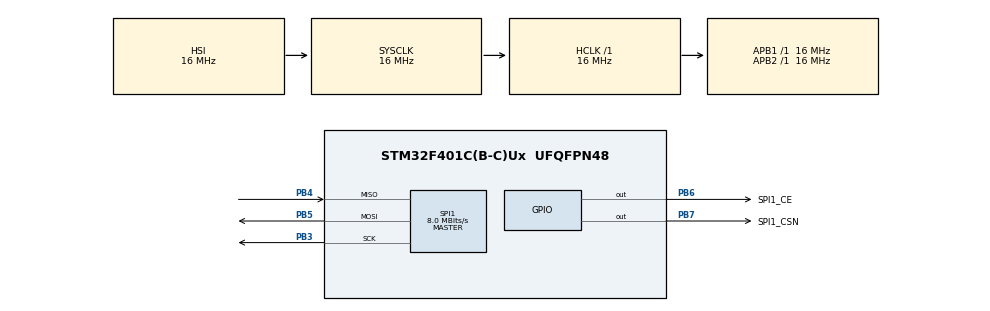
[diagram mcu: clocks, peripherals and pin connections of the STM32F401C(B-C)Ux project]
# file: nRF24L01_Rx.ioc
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Mcu.Family=STM32F4
RCC.CortexFreq_Value=16000000
SPI1.VirtualType=VM_MASTER
PH1\ -\ OSC_OUT.Mode=HSE-External-Oscillator
PB6.GPIO_Label=SPI1_CE
ProjectManager.StackSize=0x400
PA13.Signal=SYS_JTMS-SWDIO
PH0\ -\ OSC_IN.Mode=HSE-External-Oscillator
PH0\ -\ OSC_IN.Signal=RCC_OSC_IN
ProjectManager.TargetToolchain=STM32CubeIDE
SPI1.Direction=SPI_DIRECTION_2LINES
PB6.Signal=GPIO_Output
SPI1.CalculateBaudRate=8.0 MBits/s
RCC.LSE_VALUE=32768
RCC.AHBFreq_Value=16000000
RCC.HSE_VALUE=25000000
PH1\ -\ OSC_OUT.Signal=RCC_OSC_OUT
PB3.Mode=Full_Duplex_Master
board=custom
RCC.VCOOutputFreq_Value=192000000
RCC.APB2Freq_Value=16000000
PB4.Mode=Full_Duplex_Master
SPI1.Mode=SPI_MODE_MASTER
PA14.Mode=Serial_Wire
PB5.Mode=Full_Duplex_Master
PB7.Signal=GPIO_Output
PA13.Mode=Serial_Wire
Mcu.Name=STM32F401C(B-C)Ux
PB7.GPIO_Label=SPI1_CSN
PB3.Signal=SPI1_SCK
RCC.SYSCLKFreq_VALUE=16000000
Mcu.Package=UFQFPN48
PB5.Signal=SPI1_MOSI
PA14.Signal=SYS_JTCK-SWCLK
ProjectManager.HeapSize=0x200
RCC.HSI_VALUE=16000000
NVIC.PriorityGroup=NVIC_PRIORITYGROUP_4
RCC.APB1Freq_Value=16000000
PB4.Signal=SPI1_MISO

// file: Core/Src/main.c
/* USER CODE BEGIN Header */
/**
  ******************************************************************************
  * @file           : main.c
  * @brief          : Main program body
  ******************************************************************************
  * @attention
  *
  * <h2><center>&copy; Copyright (c) 2023 STMicroelectronics.
  * All rights reserved.</center></h2>
  *
  * This software component is licensed by ST under BSD 3-Clause license,
  * the "License"; You may not use this file except in compliance with the
  * License. You may obtain a copy of the License at:
  *                        opensource.org/licenses/BSD-3-Clause
  *
  ******************************************************************************
  */
/* USER CODE END Header */
#include "main.h"

/* USER CODE BEGIN Includes */

	#include "NRF24L01.h"

/* USER CODE END Includes */

/* USER CODE BEGIN PM */

	/* nRF24L01 */

		uint8_t Rxaddr[5] = {'S','T','E','A','M'};
		uint8_t RxData[8];
		uint32_t lastTime = 0;

/* USER CODE END PM */

SPI_HandleTypeDef hspi1;

void SystemClock_Config(void);
static void MX_GPIO_Init(void);
static void MX_SPI1_Init(void);
/* USER CODE BEGIN PFP */

 	 /*  RESETT DATA */

		void reset_data(void){
		  RxData[0] = 128;//x1
		  RxData[1] = 128;//y1
		  RxData[2] = 128;//x2
		  RxData[3] = 128; //y2
		  RxData[4] = 128; //y2
		  RxData[5] = 128; //y2
		  RxData[6] = 0; //y2
		  RxData[7] = 0; //y2
		}

/* USER CODE END PFP */

int main(void)
{

  /* MCU Configuration--------------------------------------------------------*/

  /* Reset of all peripherals, Initializes the Flash interface and the Systick. */
  HAL_Init();

  /* Configure the system clock */
  SystemClock_Config();

  /* Initialize all configured peripherals */
  MX_GPIO_Init();
  MX_SPI1_Init();
  /* USER CODE BEGIN 2 */

	  NRF24_Init();
	  NRF24_RxMode(Rxaddr, 112, 8);//NRF24_TxMode(Address, channel, payload_size)
	  RxData[0] = 128;//x1
	  RxData[1] = 128;//y1
	  RxData[2] = 128;//x2
	  RxData[3] = 128; //y2
	  RxData[4] = 128; //y2
	  RxData[5] = 128; //y2
	  RxData[6] = 0; //y2
	  RxData[7] = 0; //y2

  /* USER CODE END 2 */

  /* Infinite loop */
  while (1)
  {

    /* USER CODE BEGIN 3 */

	  	  	  if(DataReady(1)>0){
	  			NRF24_Receive(RxData, 8);
	  			lastTime = HAL_GetTick();
	  		  }
	  		  if((HAL_GetTick() - lastTime > 10)){
	  			reset_data();
	  		  }

  }
  /* USER CODE END 3 */
}

void SystemClock_Config(void)
{
  RCC_OscInitTypeDef RCC_OscInitStruct = {0};
  RCC_ClkInitTypeDef RCC_ClkInitStruct = {0};

  /** Configure the main internal regulator output voltage
  */
  __HAL_RCC_PWR_CLK_ENABLE();
  __HAL_PWR_VOLTAGESCALING_CONFIG(PWR_REGULATOR_VOLTAGE_SCALE2);
  /** Initializes the RCC Oscillators according to the specified parameters
  * in the RCC_OscInitTypeDef structure.
  */
  RCC_OscInitStruct.OscillatorType = RCC_OSCILLATORTYPE_HSI;
  RCC_OscInitStruct.HSIState = RCC_HSI_ON;
  RCC_OscInitStruct.HSICalibrationValue = RCC_HSICALIBRATION_DEFAULT;
  RCC_OscInitStruct.PLL.PLLState = RCC_PLL_NONE;
  if (HAL_RCC_OscConfig(&RCC_OscInitStruct) != HAL_OK)
  {
    Error_Handler();
  }
  /** Initializes the CPU, AHB and APB buses clocks
  */
  RCC_ClkInitStruct.ClockType = RCC_CLOCKTYPE_HCLK|RCC_CLOCKTYPE_SYSCLK
                              |RCC_CLOCKTYPE_PCLK1|RCC_CLOCKTYPE_PCLK2;
  RCC_ClkInitStruct.SYSCLKSource = RCC_SYSCLKSOURCE_HSI;
  RCC_ClkInitStruct.AHBCLKDivider = RCC_SYSCLK_DIV1;
  RCC_ClkInitStruct.APB1CLKDivider = RCC_HCLK_DIV1;
  RCC_ClkInitStruct.APB2CLKDivider = RCC_HCLK_DIV1;

  if (HAL_RCC_ClockConfig(&RCC_ClkInitStruct, FLASH_LATENCY_0) != HAL_OK)
  {
    Error_Handler();
  }
}

static void MX_SPI1_Init(void)
{

  /* SPI1 parameter configuration*/
  hspi1.Instance = SPI1;
  hspi1.Init.Mode = SPI_MODE_MASTER;
  hspi1.Init.Direction = SPI_DIRECTION_2LINES;
  hspi1.Init.DataSize = SPI_DATASIZE_8BIT;
  hspi1.Init.CLKPolarity = SPI_POLARITY_LOW;
  hspi1.Init.CLKPhase = SPI_PHASE_1EDGE;
  hspi1.Init.NSS = SPI_NSS_SOFT;
  hspi1.Init.BaudRatePrescaler = SPI_BAUDRATEPRESCALER_2;
  hspi1.Init.FirstBit = SPI_FIRSTBIT_MSB;
  hspi1.Init.TIMode = SPI_TIMODE_DISABLE;
  hspi1.Init.CRCCalculation = SPI_CRCCALCULATION_DISABLE;
  hspi1.Init.CRCPolynomial = 10;
  if (HAL_SPI_Init(&hspi1) != HAL_OK)
  {
    Error_Handler();
  }

}

static void MX_GPIO_Init(void)
{
  GPIO_InitTypeDef GPIO_InitStruct = {0};

  /* GPIO Ports Clock Enable */
  __HAL_RCC_GPIOH_CLK_ENABLE();
  __HAL_RCC_GPIOA_CLK_ENABLE();
  __HAL_RCC_GPIOB_CLK_ENABLE();

  /*Configure GPIO pin Output Level */
  HAL_GPIO_WritePin(GPIOB, SPI1_CE_Pin|SPI1_CSN_Pin, GPIO_PIN_RESET);

  /*Configure GPIO pins : SPI1_CE_Pin SPI1_CSN_Pin */
  GPIO_InitStruct.Pin = SPI1_CE_Pin|SPI1_CSN_Pin;
  GPIO_InitStruct.Mode = GPIO_MODE_OUTPUT_PP;
  GPIO_InitStruct.Pull = GPIO_NOPULL;
  GPIO_InitStruct.Speed = GPIO_SPEED_FREQ_LOW;
  HAL_GPIO_Init(GPIOB, &GPIO_InitStruct);

}

void Error_Handler(void)
{
  __disable_irq();
  while (1)
  {
  }
}

/************************ (C) COPYRIGHT STMicroelectronics *****END OF FILE****/
